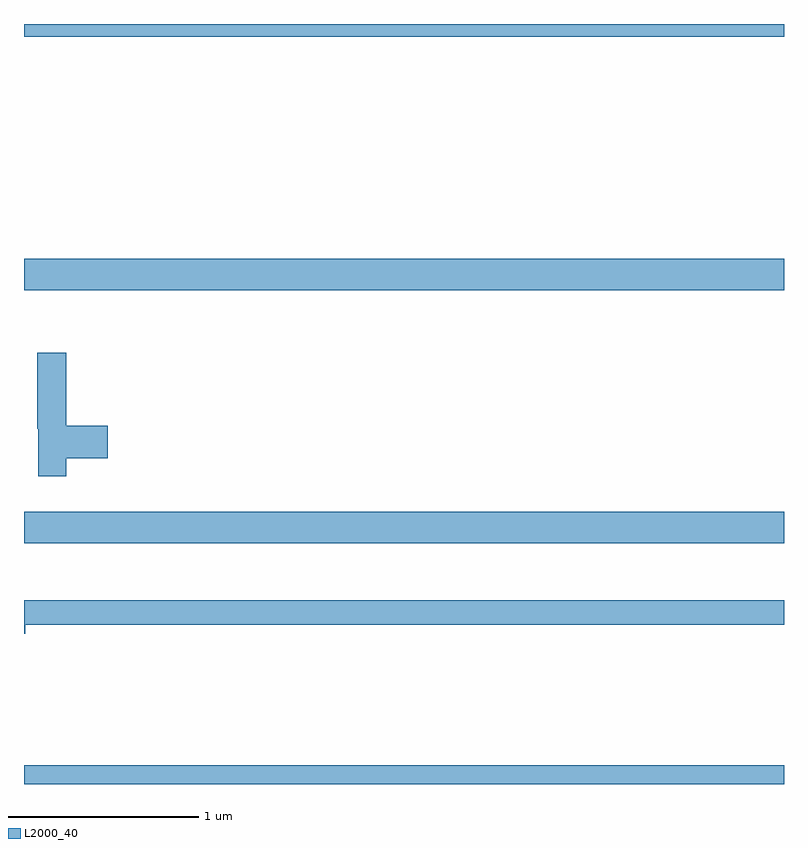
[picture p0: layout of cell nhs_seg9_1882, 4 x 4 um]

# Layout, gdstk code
import gdstk
lib = gdstk.Library(unit=1e-6, precision=1e-09)
def R(c, l, rs):  # rectangles x0, y0, x1, y1
    for r in rs: c.add(gdstk.rectangle(r[:2], r[2:], *l))
def P(c, l, *ps):  # polygons
    for p in ps: c.add(gdstk.Polygon(p, *l))
L2000_40 = (2000, 40)

nhs_seg9_1882 = lib.new_cell('nhs_seg9_1882')
R(nhs_seg9_1882, L2000_40, [(217,1180.5,221,1180.6), (217,1181.768,221,1181.932), (217,1183.1,221,1183.264), (217,1184.432,221,1184.5)])
P(nhs_seg9_1882, L2000_40, [(217.223,1182.215),(217.441,1182.215),(217.441,1182.386),(217.223,1182.386),(217.223,1182.769),(217.069,1182.769),(217.069,1182.369),(217.076,1182.369),(217.076,1182.12),(217.223,1182.12)],
  [(217.006,1181.338),(221,1181.338),(221,1181.467),(217,1181.467),(217,1181.291),(217.006,1181.291)])

lib.write_gds('nhs_seg9_1882.gds')
